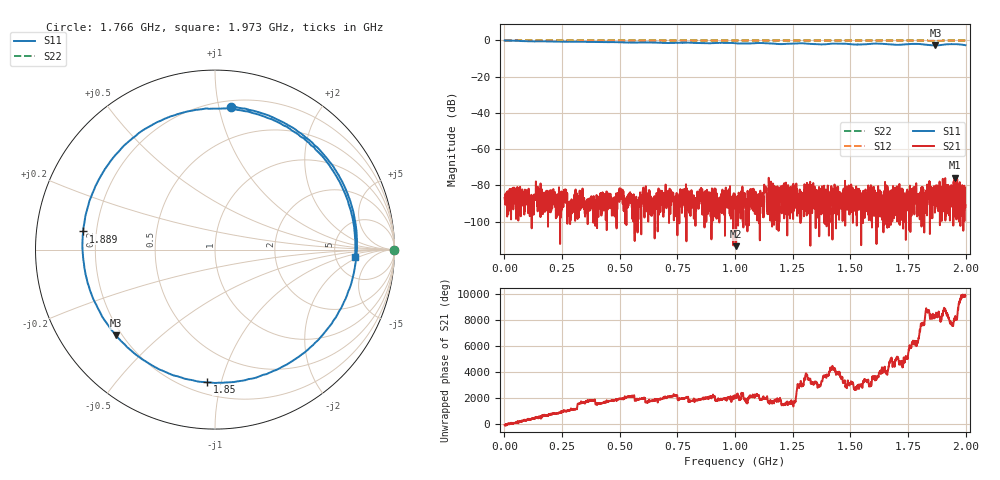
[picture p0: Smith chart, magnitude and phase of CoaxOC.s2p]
! Anritsu VNA Master:  Model: MS2025B
! SN:  1642059
! /bd0/PROE/TP1/CoaxOC.s2p
! Existing Calibration Information:
! TYPE:  Current Settings,  Active Cal Settings
! TIME:  04/16/2024 09:39:41 AM,  03/12/2018 11:45:53 AM
! INTERNAL TEMP:  43.5 C,  40.8 C
! # POINTS:  2857,  4001
! START FREQ:  1.000 MHz,  1.000 MHz
! STOP FREQ:  1.999 486 GHz,  2.800 GHz
! SOURCE POWER:  Default,  Default
! IFBW:  1 kHz,  1 kHz
! AVG FACTOR:  1 ,  1
! REF PLANE 1:  0 mm,  0 mm
! REF PLANE 2:  0 mm,  0 mm
! CAL TYPE:  1P2P S11,S21,  1P2P S11,S21
! CAL METHOD:  SOLT,  SOLT
! CAL LINE TYPE:  Coax,  Coax
! DUT PORT 1:  ,
! DUT PORT 2:  N-Conn(M),  N-Conn(M)
! CAL STATUS:  OK: Accuracy High,  --
# GHZ S MA R 50.0
! FREQ.GHZ  S11M  S11A  S21M  S21A  S12M  S12A  S22M  S22A
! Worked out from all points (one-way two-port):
!   2857 points, 1 MHz to 1.999 GHz, reference 50 ohm
!   highest |S21| = -75.78 dB at 1.953 GHz (marker M1); lowest = -113.6 dB at 1.005 GHz (marker M2)
!   lowest |S11| = -2.7 dB at 1.869 GHz (marker M3), VSWR 6.38, Z = 8.9 - j18.2 ohm
!   |S11| at or under -10 dB: nowhere
!   |S22| runs from 0.0 to 0.0 dB; largest |S21 - S12| = 1
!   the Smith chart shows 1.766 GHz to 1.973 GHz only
!   S11 on the Smith chart (normalised r, x): 1.766 GHz: 0.25, +1.09; 1.85 GHz: 0.28, -0.91; 1.889 GHz: 0.15, +0.07; 1.973 GHz: 7.78, -1.60
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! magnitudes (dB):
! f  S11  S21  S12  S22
! 1 MHz  0.0  -86.9  0.0  0.0
! 334.1 MHz  -0.7  -85.0  0.0  0.0
! 667.2 MHz  -1.2  -92.3  0.0  0.0
! 1 GHz  -1.5  -88.0  0.0  0.0
! 1.005 GHz  -1.6  -113.6  0.0  0.0
! 1.136 GHz  -1.5  -81.3  0.0  0.0
! 1.156 GHz  -1.6  -86.3  0.0  0.0
! 1.176 GHz  -1.8  -86.4  0.0  0.0
! 1.333 GHz  -2.0  -91.8  0.0  0.0
! 1.47 GHz  -1.8  -83.3  0.0  0.0
! 1.524 GHz  -2.2  -85.6  0.0  0.0
! 1.614 GHz  -1.7  -112.4  0.0  0.0
! 1.666 GHz  -2.1  -84.8  0.0  0.0
! 1.706 GHz  -2.4  -85.5  0.0  0.0
! 1.766 GHz  -1.9  -96.7  0.0  0.0
! 1.85 GHz  -2.6  -93.7  0.0  0.0
! 1.869 GHz  -2.7  -83.0  0.0  0.0
! 1.889 GHz  -2.6  -102.0  0.0  0.0
! 1.938 GHz  -2.0  -79.9  0.0  0.0
! 1.953 GHz  -2.0  -75.8  0.0  0.0
! 1.973 GHz  -2.2  -85.8  0.0  0.0
! 1.999 GHz  -2.6  -91.0  0.0  0.0
